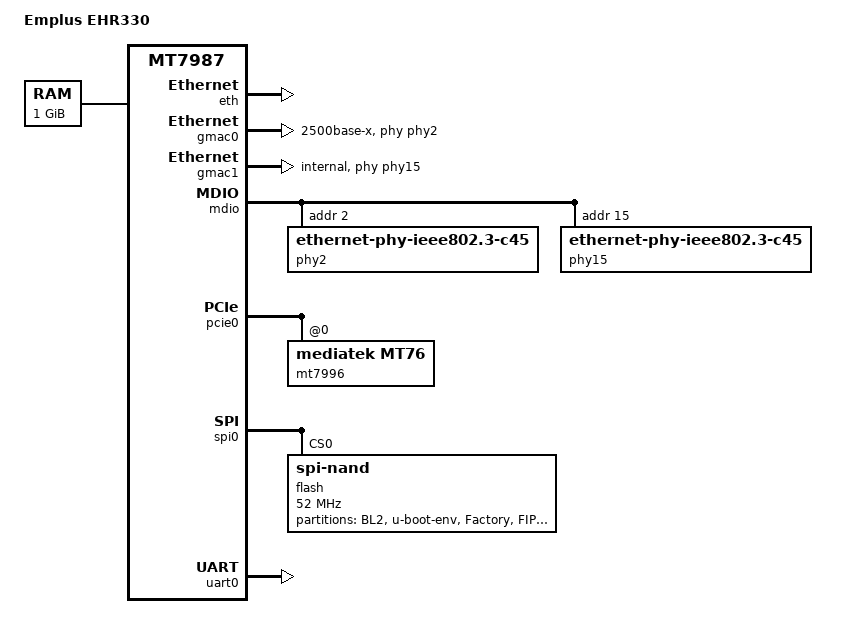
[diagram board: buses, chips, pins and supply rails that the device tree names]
// SPDX-License-Identifier: (GPL-2.0 OR MIT)

/dts-v1/;
#include "mt7987a.dtsi"

/ {
	model = "Emplus EHR330";
	compatible = "emplus,ehr330", "mediatek,mt7987a", "mediatek,mt7987";

	aliases {
		serial0 = &uart0;
		label-mac-device = &gmac0;
	};

	chosen {
		bootargs = "console=ttyS0,115200n1 earlycon=uart8250,mmio32,0x11000000 pci=pcie_bus_perf";
		rootdisk = <&ubi_rootdisk>;
		stdout-path = "serial0:115200n8";
	};

	memory@40000000 {
		device_type = "memory";
		reg = <0x0 0x40000000 0x0 0x40000000>;
	};
};

&eth {
	status = "okay";
};

&gmac0 {
	phy-handle = <&phy2>;
	phy-mode = "2500base-x";
	status = "okay";
};

&gmac1 {
	phy-handle = <&phy15>;
	phy-mode = "internal";
	status = "okay";
};

&mdio {
	phy2: ethernet-phy@2 {
		compatible = "ethernet-phy-ieee802.3-c45";
		reg = <2>;
	};

	phy15: ethernet-phy@f {
		compatible = "ethernet-phy-ieee802.3-c45";
		reg = <15>;
		pinctrl-names = "i2p5gbe-led";
		pinctrl-0 = <&i2p5gbe_led0_pins>;
	};
};

&pcie0 {
	pinctrl-names = "default";
	pinctrl-0 = <&pcie0_pins>;
	status = "okay";

	pcie@0,0 {
		reg = <0x0000 0 0 0 0>;
		#address-cells = <3>;
		#size-cells = <2>;
		device_type = "pci";

		mt7996@0,0 {
			compatible = "mediatek,mt76";
			reg = <0x0000 0 0 0 0>;
			#address-cells = <1>;
			#size-cells = <0>;
			device_type = "pci";
		};
	};
};

&pcie1 {
	status = "disabled";
};

&spi0 {
	#address-cells = <1>;
	#size-cells = <0>;
	pinctrl-names = "default";
	pinctrl-0 = <&spi0_flash_pins>;
	status = "okay";

	flash@0 {
		compatible = "spi-nand";
		reg = <0>;
		spi-max-frequency = <52000000>;
		spi-tx-bus-width = <4>;
		spi-rx-bus-width = <4>;

		mediatek,nmbm;
		mediatek,bmt-max-ratio = <1>;
		mediatek,bmt-max-reserved-blocks = <128>;

		partitions {
			compatible = "fixed-partitions";
			#address-cells = <1>;
			#size-cells = <1>;

			partition@0 {
				label = "BL2";
				reg = <0x0000000 0x0100000>;
				read-only;
			};

			partition@100000 {
				label = "u-boot-env";
				reg = <0x0100000 0x0080000>;
			};

			factory: partition@180000 {
				label = "Factory";
				reg = <0x0180000 0x0400000>;
				read-only;
			};

			partition@580000 {
				label = "FIP";
				reg = <0x0580000 0x0200000>;
				read-only;
			};

			partition@780000 {
				label = "ubi";
				reg = <0x0780000 0x06d00000>;
				compatible = "linux,ubi";

				volumes {
					ubi_rootdisk: ubi-volume-kernel {
						volname = "kernel";
					};
				};
			};

			partition@7480000 {
				label = "ubi_1";
				reg = <0x07480000 0x06d00000>;
			};

			partition@e180000 {
				label = "cert";
				reg = <0x0e180000 0x0060000>;
				read-only;
			};

			partition@e1e0000 {
				label = "userconfig";
				reg = <0x0e1e0000 0x00a0000>;
			};

			partition@e280000 {
				label = "crashdump";
				reg = <0x0e280000 0x0060000>;
			};
		};
	};
};

&uart0 {
	pinctrl-names = "default";
	pinctrl-0 = <&uart0_pins>;
	status = "okay";
};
